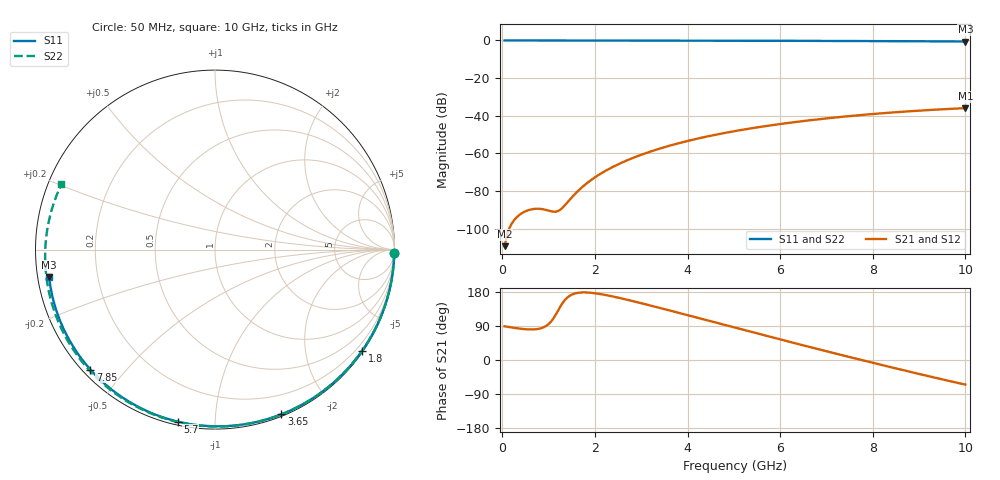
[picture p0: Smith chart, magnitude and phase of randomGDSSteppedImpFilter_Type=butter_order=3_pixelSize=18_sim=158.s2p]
! freq	dB(S11)	phase(S11)	dB(S12)	phase(S12)
!  dB(S21)	phase(S21)	dB(S22)	phase(S22)
!S-par simulation data
#  GHz  S  DB  R 50
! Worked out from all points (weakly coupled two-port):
!   200 points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, 50 MHz to 10 GHz, reference 50 ohm
!   highest |S21| = -35.97 dB at 10 GHz (marker M1); lowest = -109.4 dB at 50 MHz (marker M2)
!   lowest |S11| = -0.6 dB at 10 GHz (marker M3), VSWR 30.74, Z = 1.64 - j4.1 ohm
!   |S11| at or under -10 dB: nowhere
!   |S22| runs from -0.6 to 0.0 dB; largest |S21 - S12| = 0
!   S11 on the Smith chart (normalised r, x): 50 MHz: open; 1.8 GHz: 0.03, -3.21; 3.65 GHz: 0.02, -1.48; 5.7 GHz: 0.02, -0.81; 7.85 GHz: 0.02, -0.40; 10 GHz: 0.03, -0.08
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0.05  -0.00 -0.9  -109.35 88.9  -109.35 88.9  -0.01 -1.1
0.45  -0.01 -8.7  -91.43 81.8  -91.43 81.8  -0.02 -10.3
0.8  -0.02 -15.5  -89.48 82.6  -89.48 82.6  -0.02 -18.3
1.6  -0.04 -30.8  -80.84 176.4  -80.84 176.4  -0.05 -36.2
1.65  -0.04 -31.7  -79.64 177.5  -79.64 177.5  -0.05 -37.3
1.75  -0.04 -33.6  -77.43 178.3  -77.43 178.3  -0.05 -39.5
1.8  -0.04 -34.6  -76.41 178.3  -76.41 178.3  -0.05 -40.6
2.1  -0.05 -40.2  -71.19 174.3  -71.19 174.3  -0.06 -47.1
2.45  -0.06 -46.6  -66.46 166.0  -66.46 166.0  -0.07 -54.6
2.9  -0.07 -54.8  -61.69 153.0  -61.69 153.0  -0.08 -64.1
3.4  -0.08 -63.7  -57.48 137.5  -57.48 137.5  -0.10 -74.4
3.65  -0.09 -68.1  -55.69 129.5  -55.69 129.5  -0.11 -79.4
4.35  -0.11 -80.1  -51.44 107.0  -51.44 107.0  -0.13 -93.3
5.05  -0.14 -91.7  -48.06 84.4  -48.06 84.4  -0.16 -106.7
5.7  -0.17 -102.3  -45.47 63.7  -45.47 63.7  -0.20 -118.9
6.7  -0.23 -118.1  -42.26 32.3  -42.26 32.3  -0.26 -137.4
7.3  -0.27 -127.5  -40.67 13.8  -40.67 13.8  -0.31 -148.6
7.85  -0.32 -136.1  -39.42 -2.8  -39.42 -2.8  -0.36 -158.9
8.35  -0.37 -143.9  -38.42 -17.8  -38.42 -17.8  -0.42 -168.5
9.2  -0.46 -157.4  -37.01 -42.6  -37.01 -42.6  -0.52 174.4
9.6  -0.51 -163.9  -36.46 -53.9  -36.46 -53.9  -0.57 165.8
10  -0.57 -170.6  -35.97 -65.0  -35.97 -65.0  -0.63 157.0
